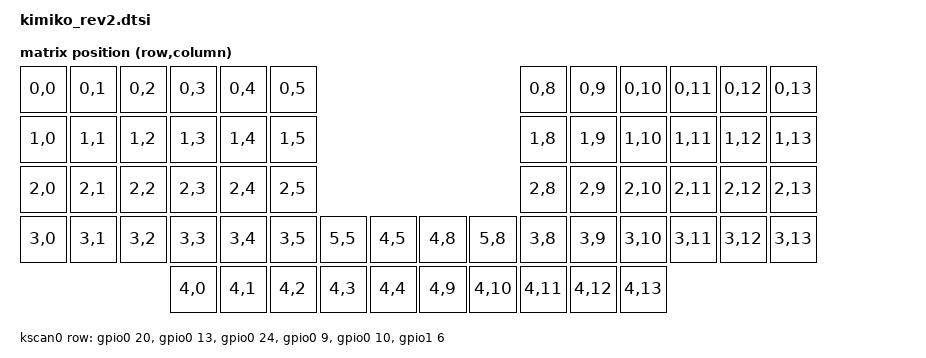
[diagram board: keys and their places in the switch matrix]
#include <dt-bindings/zmk/matrix_transform.h>

/ {
    chosen {
        zmk,kscan = &kscan0;
        zmk,matrix_transform = &default_transform;
    };

    default_transform: keymap_transform_0 {
        compatible = "zmk,matrix-transform";
        columns = <16>;
        rows = <5>;
// | SW6  | SW5  | SW4  | SW3  | SW2  | SW1  |                             | SW1  | SW2  | SW3  | SW4  | SW5  | SW6  |
// | SW12 | SW11 | SW10 | SW9  | SW8  | SW7  |                             | SW7  | SW8  | SW9  | SW10 | SW11 | SW12 |
// | SW18 | SW17 | SW16 | SW15 | SW14 | SW13 |                             | SW13 | SW14 | SW15 | SW16 | SW17 | SW18 |
// | SW24 | SW23 | SW22 | SW21 | SW20 | SW19 | SW25 | SW26 | | SW26 | SW25 | SW19 | SW20 | SW21 | SW22 | SW23 | SW24 |
//                      | SW31 | SW30 | SW29 | SW28 | SW27 | | SW27 | SW28 | SW29 | SW30 | SW31 |
        map = <
RC(0,0) RC(0,1) RC(0,2) RC(0,3) RC(0,4) RC(0,5)                                  RC(0,8)  RC(0,9)  RC(0,10) RC(0,11) RC(0,12) RC(0,13)
RC(1,0) RC(1,1) RC(1,2) RC(1,3) RC(1,4) RC(1,5)                                  RC(1,8)  RC(1,9)  RC(1,10) RC(1,11) RC(1,12) RC(1,13)
RC(2,0) RC(2,1) RC(2,2) RC(2,3) RC(2,4) RC(2,5)                                  RC(2,8)  RC(2,9)  RC(2,10) RC(2,11) RC(2,12) RC(2,13)
RC(3,0) RC(3,1) RC(3,2) RC(3,3) RC(3,4) RC(3,5) RC(5,5) RC(4,5) RC(4,8) RC(5,8)  RC(3,8)  RC(3,9)  RC(3,10) RC(3,11) RC(3,12) RC(3,13)
                        RC(4,0) RC(4,1) RC(4,2) RC(4,3) RC(4,4) RC(4,9) RC(4,10) RC(4,11) RC(4,12) RC(4,13)
        >;
    };

    kscan0: kscan {
        compatible = "zmk,kscan-gpio-matrix";
        diode-direction = "col2row";
        row-gpios = <&gpio0 20 (GPIO_ACTIVE_HIGH | GPIO_PULL_DOWN)> // Row 0 from PCB
                  , <&gpio0 13 (GPIO_ACTIVE_HIGH | GPIO_PULL_DOWN)> // Row 1 from PCB
                  , <&gpio0 24 (GPIO_ACTIVE_HIGH | GPIO_PULL_DOWN)> // Row 2 from PCB
                  , <&gpio0  9 (GPIO_ACTIVE_HIGH | GPIO_PULL_DOWN)> // Row 3 from PCB
                  , <&gpio0 10 (GPIO_ACTIVE_HIGH | GPIO_PULL_DOWN)> // Row 4 from PCB
                  , <&gpio1  6 (GPIO_ACTIVE_HIGH | GPIO_PULL_DOWN)> // Row 5 from PCB
                ;
    };
};                                     
